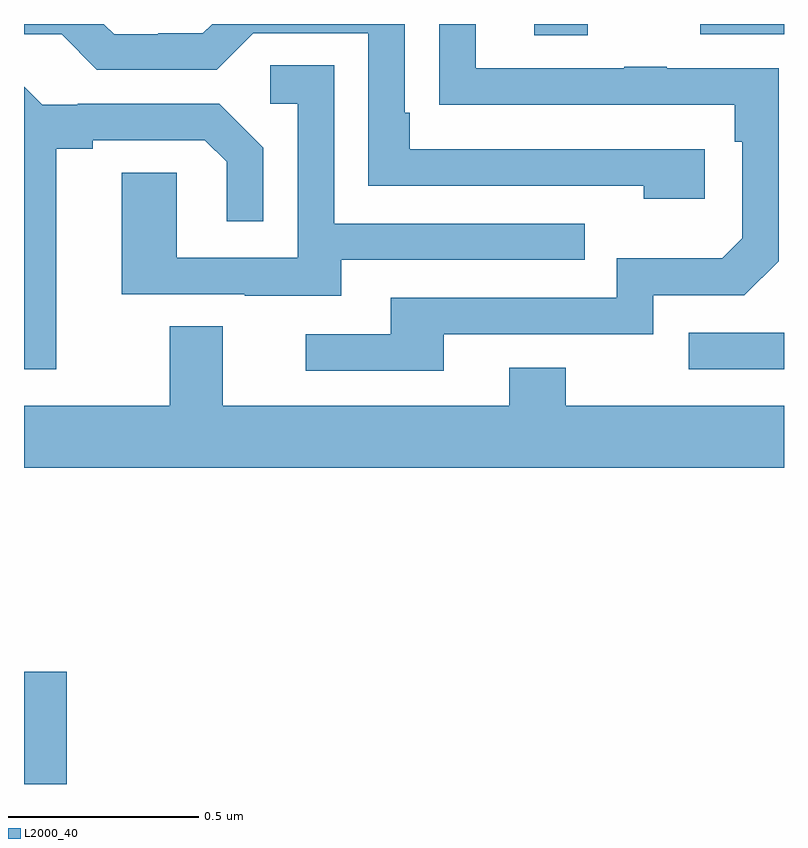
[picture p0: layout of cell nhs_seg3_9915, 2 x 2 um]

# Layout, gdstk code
import gdstk
lib = gdstk.Library(unit=1e-6, precision=1e-09)
def R(c, l, rs):  # rectangles x0, y0, x1, y1
    for r in rs: c.add(gdstk.rectangle(r[:2], r[2:], *l))
def P(c, l, *ps):  # polygons
    for p in ps: c.add(gdstk.Polygon(p, *l))
L2000_40 = (2000, 40)

nhs_seg3_9915 = lib.new_cell('nhs_seg3_9915')
R(nhs_seg3_9915, L2000_40, [(234,717.4,234.113,717.696), (235.749,718.491,236,718.587), (235.343,719.37,235.483,719.4), (235.779,719.373,236,719.4)])
P(nhs_seg3_9915, L2000_40, [(235.105,718.584),(235.656,718.584),(235.656,718.686),(235.896,718.686),(235.986,718.776),(235.986,719.283),(235.691,719.283),(235.691,719.288),(235.579,719.288),(235.579,719.283),(235.189,719.283),(235.189,719.4),(235.093,719.4),(235.093,719.188),(235.195,719.188),(235.195,719.187),(235.87,719.187),(235.87,719.09),(235.89,719.09),(235.89,718.836),(235.837,718.783),(235.56,718.783),(235.56,718.68),(234.965,718.68),(234.965,718.584),(234.741,718.584),(234.741,718.488),(235.105,718.488)],
  [(235.792,719.07),(235.015,719.07),(235.015,719.167),(235.002,719.167),(235.002,719.4),(234.495,719.4),(234.471,719.376),(234.353,719.376),(234.353,719.373),(234.237,719.373),(234.21,719.4),(234,719.4),(234,719.373),(234.099,719.373),(234.192,719.28),(234.507,719.28),(234.603,719.376),(234.906,719.376),(234.906,718.974),(235.631,718.974),(235.631,718.94),(235.792,718.94)],
  [(234.835,718.779),(235.475,718.779),(235.475,718.875),(234.816,718.875),(234.816,719.291),(234.648,719.291),(234.648,719.19),(234.72,719.19),(234.72,718.785),(234.402,718.785),(234.402,719.009),(234.257,719.009),(234.257,718.689),(234.581,718.689),(234.581,718.685),(234.835,718.685)],
  [(234.085,719.072),(234.181,719.072),(234.181,719.094),(234.476,719.094),(234.533,719.037),(234.533,718.881),(234.63,718.881),(234.63,719.074),(234.514,719.19),(234.142,719.19),(234.142,719.187),(234.048,719.187),(234,719.235),(234,718.491),(234.085,718.491)],
  [(236,718.396),(235.425,718.396),(235.425,718.495),(235.277,718.495),(235.277,718.396),(234.523,718.396),(234.523,718.604),(234.383,718.604),(234.383,718.396),(234,718.396),(234,718.232),(236,718.232)])

lib.write_gds('nhs_seg3_9915.gds')
